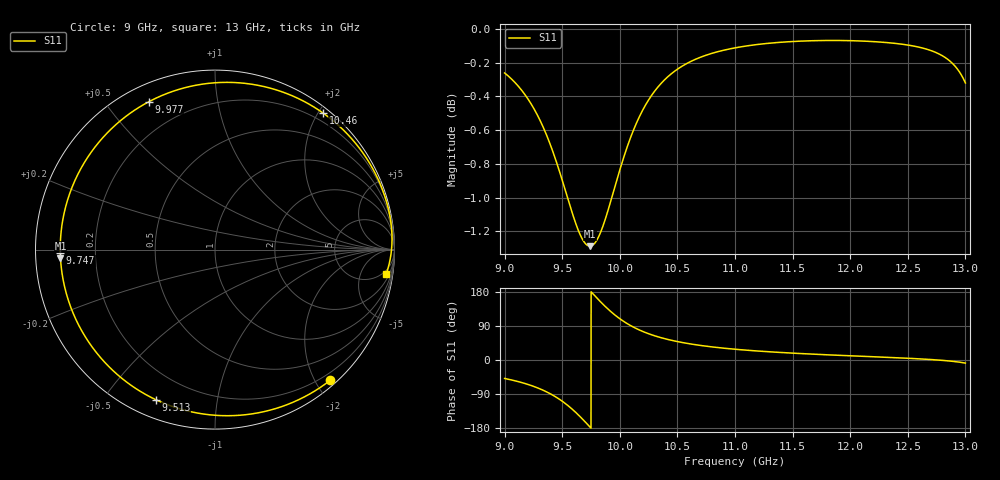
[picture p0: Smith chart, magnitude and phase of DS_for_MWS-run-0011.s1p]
! TOUCHSTONE file generated by CST DESIGN STUDIO
! Date and time: Tue Feb  4 17:53:01 2025
! Project name: C:\Work\MatlabApps\UnitCellOptimizationMatlab\CST\unitcell.cst
! Tree item: Tasks\Sweep1\SPara1\S-Parameters
! Header version: 2024
! Port assignment regex: !\s*Touchstone port\s*([0-9]+)\s*=\s*(CST MWS port|CST DES external port|CST DES block port)\s*(.+)\s* \(\"(.*)\"\)(\s*mode\s*([0-9]+))?.*
! Touchstone port assignment:
! Touchstone port 1 = CST DES external port 1 ("")
# GHz S MA R 50
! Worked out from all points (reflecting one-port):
!   4001 points, 9 GHz to 13 GHz, reference 50 ohm
!   lowest |S11| = -1.3 dB at 9.741 GHz (marker M1), VSWR 13.51, Z = 3.7 - j1.39 ohm
!   phase of S11 starts at -49 deg and turns -319 deg over the sweep
!   S11 on the Smith chart (normalised r, x): 9 GHz: 0.09, -2.21; 9.513 GHz: 0.08, -0.68; 9.747 GHz: 0.07, -0.01; 9.977 GHz: 0.07, +0.65; 10.46 GHz: 0.08, +2.07; 13 GHz: 3, -13
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9  0.9704 -48.7
9.14  0.9598 -58.8
9.269  0.9451 -71.5
9.4  0.9234 -89.7
9.5  0.9019 -108.7
9.513  0.8989 -111.6
9.568  0.8862 -124.8
9.621  0.875 -139.3
9.685  0.8652 -158.7
9.741  0.8621 -176.8
9.747  0.8622 -178.8
9.806  0.8663 162.1
9.872  0.8778 141.7
9.924  0.8897 127.2
9.977  0.9027 114.1
10  0.9082 108.9
10.093  0.9284 90.9
10.213  0.948 73.6
10.326  0.9607 61.7
10.455  0.9704 51.5
10.5  0.9729 48.6
10.717  0.9814 37.7
11  0.9872 28.4
11.5  0.9915 18.1
12  0.9921 11.1
12.5  0.9891 4.6
12.799  0.9819 -0.9
13  0.9638 -8.1
